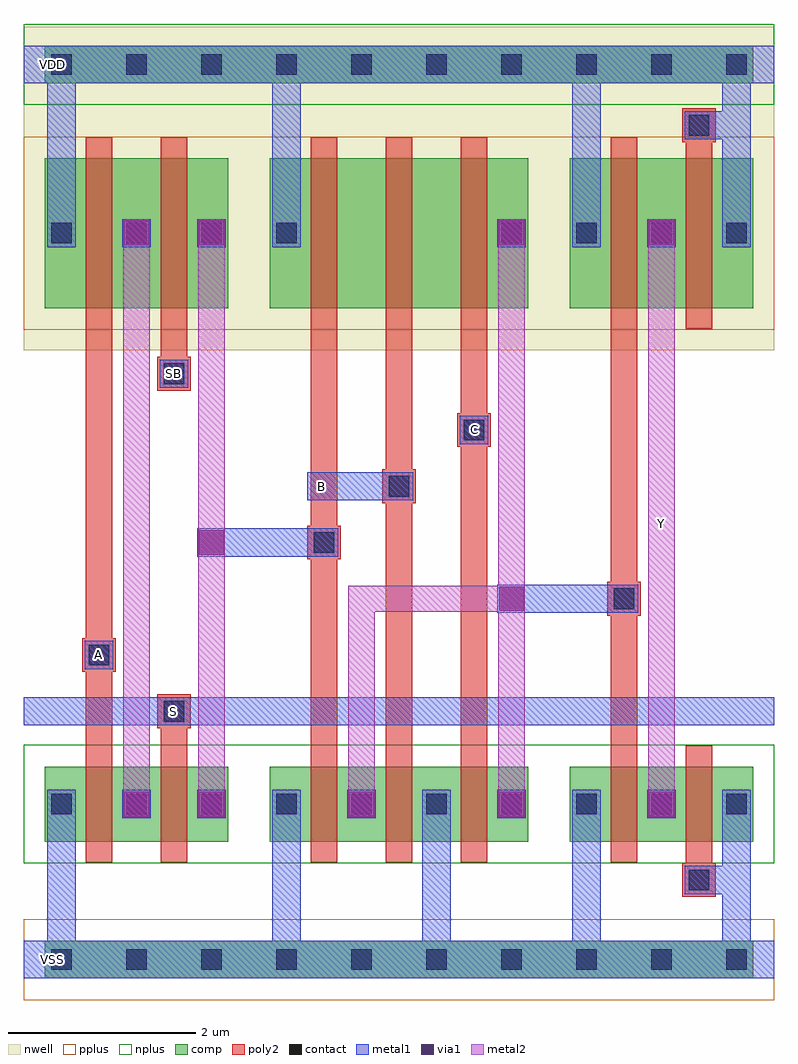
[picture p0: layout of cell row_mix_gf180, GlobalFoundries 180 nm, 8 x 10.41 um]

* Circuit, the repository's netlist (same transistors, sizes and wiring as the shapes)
* row_mix_gf180 -- reference netlist for the generic mixed-device row example
* (issue #3969). Authored from docs/design/custom-transistor-layout-study.md
* section 4.1; hand-written, independent of generate.py and of klt extract.
*
* inv1: A -> n1 | transmission gate n1 -> n2 (S/SB) | NOR3(n2, B, C) -> ny
* | inv2: ny -> Y | one off dummy gate per row (gate tied to its own supply).
.SUBCKT row_mix_gf180 A B C S SB VDD VSS Y
* inverter 1
MN1 n1 A VSS VSS nfet L=0.28U W=0.8U
MP1 n1 A VDD VDD pfet L=0.28U W=1.6U
* transmission gate
MN2 n2 S n1 VSS nfet L=0.28U W=0.8U
MP2 n2 SB n1 VDD pfet L=0.28U W=1.6U
* NOR3
MN3a ny n2 VSS VSS nfet L=0.28U W=0.8U
MN3b ny B VSS VSS nfet L=0.28U W=0.8U
MN3c ny C VSS VSS nfet L=0.28U W=0.8U
MP3a p1 n2 VDD VDD pfet L=0.28U W=1.6U
MP3b p2 B p1 VDD pfet L=0.28U W=1.6U
MP3c ny C p2 VDD pfet L=0.28U W=1.6U
* inverter 2
MN4 Y ny VSS VSS nfet L=0.28U W=0.8U
MP4 Y ny VDD VDD pfet L=0.28U W=1.6U
* dummy gates (off)
MN5 Y VSS VSS VSS nfet L=0.28U W=0.8U
MP5 Y VDD VDD VDD pfet L=0.28U W=1.6U
.ENDS row_mix_gf180

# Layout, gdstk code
import gdstk
lib = gdstk.Library(unit=1e-6, precision=1e-09)
def R(c, l, rs):  # rectangles x0, y0, x1, y1
    for r in rs: c.add(gdstk.rectangle(r[:2], r[2:], *l))
def A(c, l, x, y, w, h, nx, ny, dx, dy):  # array of equal rectangles
    R(c, l, [(x+i*dx, y+j*dy, x+i*dx+w, y+j*dy+h) for i in range(nx) for j in range(ny)])
nwell = (21, 0)
comp = (22, 0)
poly2 = (30, 0)
pplus = (31, 0)
nplus = (32, 0)
contact = (33, 0)
metal1 = (34, 0)
via1 = (35, 0)
metal2 = (36, 0)

row_mix_gf180 = lib.new_cell('row_mix_gf180')
R(row_mix_gf180, nwell, [(0,6.85,8,10.3)])
R(row_mix_gf180, comp, [(0.22,0.15,7.78,0.55), (0.22,1.61,2.18,2.41), (2.62,1.61,5.38,2.41), (5.82,1.61,7.78,2.41), (0.22,7.3,2.18,8.9), (2.62,7.3,5.38,8.9), (5.82,7.3,7.78,8.9), (0.22,9.7,7.78,10.1)])
A(row_mix_gf180, poly2, 3.06, 1.39, 0.28, 7.73, 3, 1, 0.8, 0)
R(row_mix_gf180, poly2, [(7.02,1.02,7.38,1.38), (7.06,1.02,7.34,2.63), (0.66,1.39,0.94,9.12), (1.46,1.39,1.74,3.18), (6.26,1.39,6.54,9.12), (1.42,2.82,1.78,3.18), (0.62,3.42,0.98,3.78), (6.22,4.02,6.58,4.38), (3.02,4.62,3.38,4.98), (3.82,5.22,4.18,5.58), (4.62,5.82,4.98,6.18), (1.42,6.42,1.78,6.78), (1.46,6.42,1.74,9.12), (7.06,7.08,7.34,9.43), (7.02,9.07,7.38,9.43)])
R(row_mix_gf180, pplus, [(0,-0.08,8,0.78), (0,7.07,8,9.13)])
R(row_mix_gf180, nplus, [(0,1.38,8,2.64), (0,9.47,8,10.33)])
A(row_mix_gf180, contact, 0.29, 0.24, 0.22, 0.22, 10, 2, 0.8, 1.66)
A(row_mix_gf180, contact, 0.29, 7.99, 0.22, 0.22, 4, 1, 0.8, 0)
A(row_mix_gf180, contact, 5.09, 7.99, 0.22, 0.22, 4, 1, 0.8, 0)
A(row_mix_gf180, contact, 0.29, 9.79, 0.22, 0.22, 10, 1, 0.8, 0)
R(row_mix_gf180, contact, [(7.09,1.09,7.31,1.31), (1.49,2.89,1.71,3.11), (0.69,3.49,0.91,3.71), (6.29,4.09,6.51,4.31), (3.09,4.69,3.31,4.91), (3.89,5.29,4.11,5.51), (4.69,5.89,4.91,6.11), (1.49,6.49,1.71,6.71), (7.09,9.14,7.31,9.36)])
A(row_mix_gf180, metal1, 2.65, 0.15, 0.3, 1.86, 4, 1, 1.6, 0)
A(row_mix_gf180, metal1, 0.25, 1.86, 0.3, 0.3, 10, 1, 0.8, 0)
A(row_mix_gf180, metal1, 0.25, 7.95, 0.3, 0.3, 4, 1, 0.8, 0)
A(row_mix_gf180, metal1, 5.05, 7.95, 0.3, 0.3, 4, 1, 0.8, 0)
R(row_mix_gf180, metal1, [(0,0.15,8,0.55), (0.25,0.15,0.55,2.01), (7.05,1.05,7.35,1.35), (7.05,1.05,7.75,1.35), (0,2.85,8,3.15), (1.45,2.85,1.75,3.15), (1.45,2.85,1.75,3.15), (0.65,3.45,0.95,3.75), (0.65,3.45,0.95,3.75), (5.05,4.05,5.35,4.35), (5.05,4.05,6.55,4.35), (6.25,4.05,6.55,4.35), (1.85,4.65,2.15,4.95), (1.85,4.65,3.35,4.95), (3.05,4.65,3.35,4.95), (3.02,5.25,4.15,5.55), (3.85,5.25,4.15,5.55), (4.65,5.85,4.95,6.15), (4.65,5.85,4.95,6.15), (1.45,6.45,1.75,6.75), (1.45,6.45,1.75,6.75), (0.25,8.1,0.55,10.1), (2.65,8.1,2.95,10.1), (5.85,8.1,6.15,10.1), (7.45,8.1,7.75,10.1), (7.05,9.1,7.35,9.4), (7.05,9.1,7.75,9.4), (0,9.7,8,10.1)])
A(row_mix_gf180, via1, 1.87, 1.88, 0.26, 0.26, 4, 1, 1.6, 0)
R(row_mix_gf180, via1, [(1.07,1.88,1.33,2.14), (5.07,4.07,5.33,4.33), (1.87,4.67,2.13,4.93), (1.07,7.97,1.33,8.23), (1.87,7.97,2.13,8.23), (5.07,7.97,5.33,8.23), (6.67,7.97,6.93,8.23)])
R(row_mix_gf180, metal2, [(1.06,1.87,1.34,8.24), (1.86,1.87,2.14,8.24), (3.46,1.87,3.74,4.34), (5.06,1.87,5.34,4.34), (6.66,1.87,6.94,8.24), (3.46,4.06,5.34,4.34), (5.06,4.06,5.34,8.24)])
row_mix_gf180.add(gdstk.Label('A', (0.8,3.6), layer=34, texttype=10))
row_mix_gf180.add(gdstk.Label('S', (1.6,3), layer=34, texttype=10))
row_mix_gf180.add(gdstk.Label('SB', (1.6,6.6), layer=34, texttype=10))
row_mix_gf180.add(gdstk.Label('B', (3.17,5.4), layer=34, texttype=10))
row_mix_gf180.add(gdstk.Label('C', (4.8,6), layer=34, texttype=10))
row_mix_gf180.add(gdstk.Label('VSS', (0.3,0.35), layer=34, texttype=10))
row_mix_gf180.add(gdstk.Label('VDD', (0.3,9.9), layer=34, texttype=10))
row_mix_gf180.add(gdstk.Label('Y', (6.8,5), layer=36, texttype=10))

lib.write_gds('row_mix_gf180.gds')
